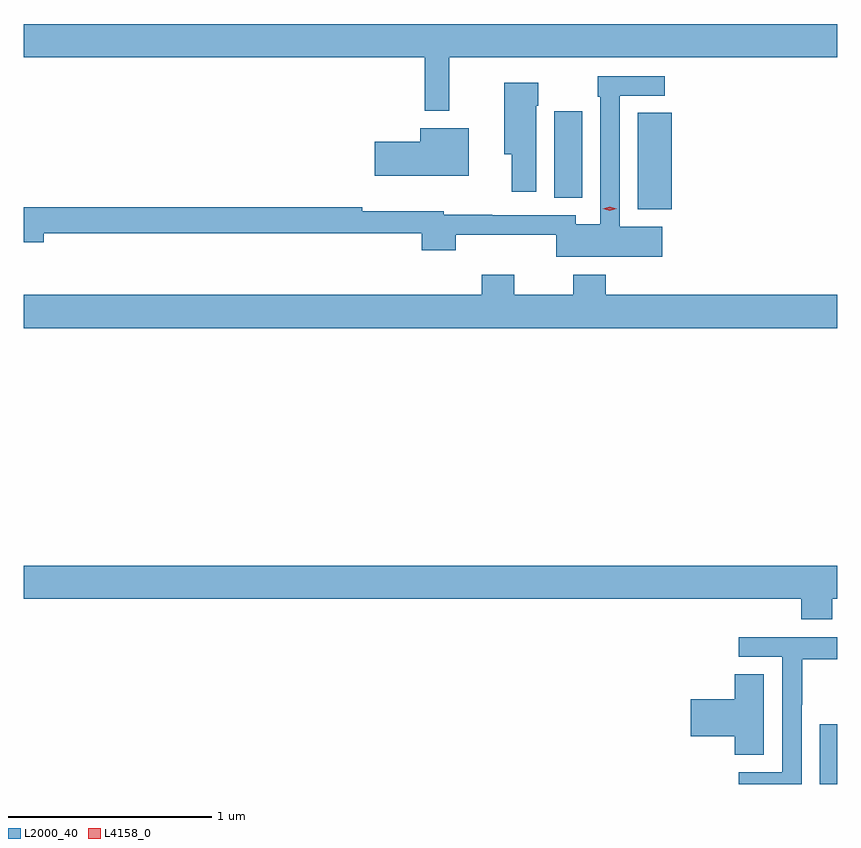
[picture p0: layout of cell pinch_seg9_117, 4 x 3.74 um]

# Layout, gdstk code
import gdstk
lib = gdstk.Library(unit=1e-6, precision=1e-09)
def R(c, l, rs):  # rectangles x0, y0, x1, y1
    for r in rs: c.add(gdstk.rectangle(r[:2], r[2:], *l))
def P(c, l, *ps):  # polygons
    for p in ps: c.add(gdstk.Polygon(p, *l))
L2000_40 = (2000, 40)
L4158_0 = (4158, 0)

pinch_seg9_117 = lib.new_cell('pinch_seg9_117')
R(pinch_seg9_117, L2000_40, [(834.875,1222.15,834.961,1222.443), (833.981,1224.977,834.148,1225.451), (833.57,1225.033,833.707,1225.459)])
P(pinch_seg9_117, L2000_40, [(833.054,1225.724),(834.961,1225.724),(834.961,1225.888),(830.961,1225.888),(830.961,1225.724),(832.933,1225.724),(832.933,1225.461),(833.054,1225.461)],
  [(834.1,1224.892),(833.892,1224.892),(833.892,1225.536),(834.112,1225.536),(834.112,1225.632),(833.784,1225.632),(833.784,1225.529),(833.796,1225.529),(833.796,1224.904),(833.676,1224.904),(833.676,1224.948),(833.264,1224.948),(833.264,1224.95),(833.025,1224.95),(833.025,1224.967),(832.625,1224.967),(832.625,1224.986),(830.961,1224.986),(830.961,1224.815),(831.058,1224.815),(831.058,1224.858),(832.919,1224.858),(832.919,1224.776),(833.084,1224.776),(833.084,1224.851),(833.58,1224.851),(833.58,1224.743),(834.1,1224.743)],
  [(833.482,1225.487),(833.49,1225.487),(833.49,1225.6),(833.324,1225.6),(833.324,1225.247),(833.36,1225.247),(833.36,1225.062),(833.482,1225.062)],
  [(833.149,1225.375),(832.91,1225.375),(832.91,1225.308),(832.686,1225.308),(832.686,1225.142),(833.149,1225.142)],
  [(834.961,1224.556),(833.822,1224.556),(833.822,1224.655),(833.662,1224.655),(833.662,1224.556),(833.373,1224.556),(833.373,1224.655),(833.213,1224.655),(833.213,1224.556),(830.961,1224.556),(830.961,1224.392),(834.961,1224.392)],
  [(834.937,1223.06),(834.961,1223.06),(834.961,1223.224),(830.961,1223.224),(830.961,1223.06),(834.785,1223.06),(834.785,1222.961),(834.937,1222.961)],
  [(834.786,1222.54),(834.789,1222.54),(834.789,1222.764),(834.961,1222.764),(834.961,1222.872),(834.477,1222.872),(834.477,1222.776),(834.69,1222.776),(834.69,1222.209),(834.477,1222.209),(834.477,1222.15),(834.786,1222.15)],
  [(834.601,1222.691),(834.458,1222.691),(834.458,1222.568),(834.24,1222.568),(834.24,1222.385),(834.458,1222.385),(834.458,1222.294),(834.601,1222.294)])
P(pinch_seg9_117, L4158_0, [(833.843,1224.969),(833.808,1224.979),(833.808,1224.979),(833.808,1224.98),(833.843,1224.989),(833.878,1224.98),(833.878,1224.979),(833.878,1224.979)])

lib.write_gds('pinch_seg9_117.gds')
